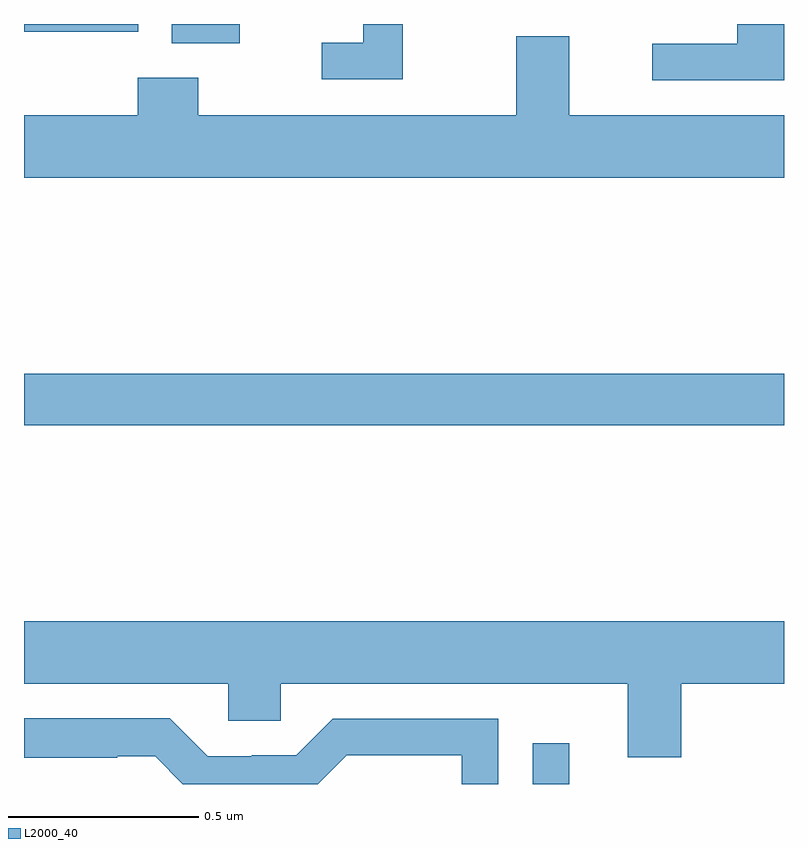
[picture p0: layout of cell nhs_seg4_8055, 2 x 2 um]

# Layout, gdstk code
import gdstk
lib = gdstk.Library(unit=1e-6, precision=1e-09)
def R(c, l, rs):  # rectangles x0, y0, x1, y1
    for r in rs: c.add(gdstk.rectangle(r[:2], r[2:], *l))
def P(c, l, *ps):  # polygons
    for p in ps: c.add(gdstk.Polygon(p, *l))
L2000_40 = (2000, 40)

nhs_seg4_8055 = lib.new_cell('nhs_seg4_8055')
R(nhs_seg4_8055, L2000_40, [(211.339,785.9,211.435,786.007), (210,786.844,212,786.98), (210.389,787.85,210.568,787.9), (210,787.879,210.3,787.9)])
P(nhs_seg4_8055, L2000_40, [(212,787.9),(211.877,787.9),(211.877,787.848),(211.653,787.848),(211.653,787.752),(212,787.752)],
  [(210.997,787.9),(210.893,787.9),(210.893,787.851),(210.783,787.851),(210.783,787.755),(210.997,787.755)],
  [(212,787.66),(211.435,787.66),(211.435,787.868),(211.295,787.868),(211.295,787.66),(210.459,787.66),(210.459,787.759),(210.299,787.759),(210.299,787.66),(210,787.66),(210,787.496),(212,787.496)],
  [(211.729,786.164),(212,786.164),(212,786.328),(210,786.328),(210,786.164),(210.537,786.164),(210.537,786.066),(210.675,786.066),(210.675,786.164),(211.589,786.164),(211.589,785.97),(211.729,785.97)],
  [(210.849,785.976),(211.152,785.976),(211.152,785.9),(211.248,785.9),(211.248,786.072),(210.813,786.072),(210.717,785.976),(210.599,785.976),(210.599,785.973),(210.483,785.973),(210.383,786.073),(210,786.073),(210,785.969),(210.245,785.969),(210.245,785.973),(210.345,785.973),(210.418,785.9),(210.773,785.9)])

lib.write_gds('nhs_seg4_8055.gds')
